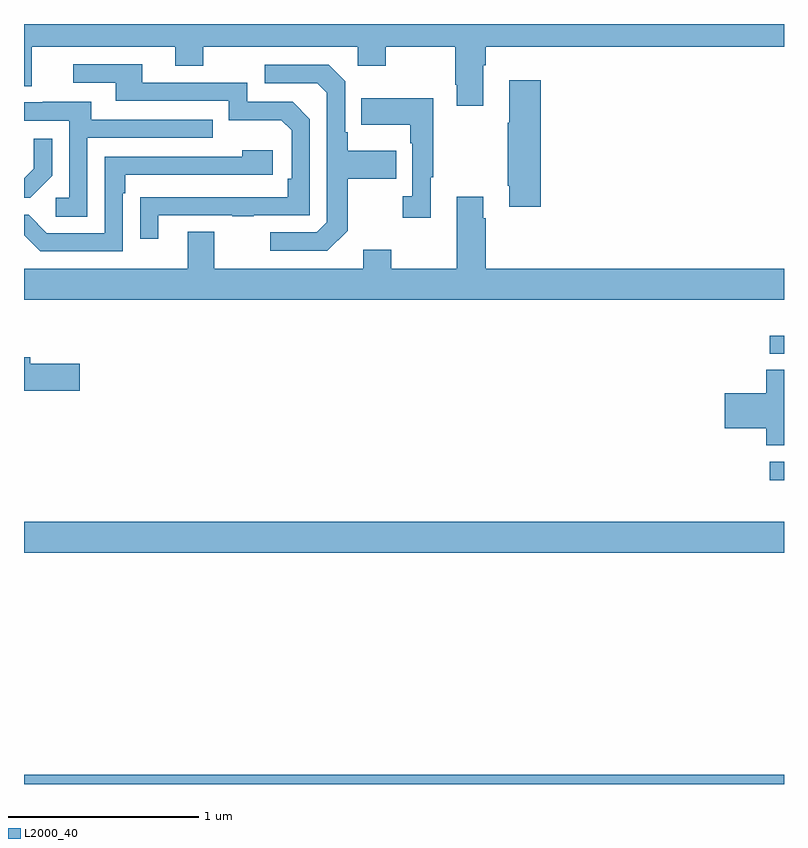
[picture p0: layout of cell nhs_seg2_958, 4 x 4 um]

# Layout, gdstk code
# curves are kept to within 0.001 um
import gdstk
lib = gdstk.Library(unit=1e-6, precision=1e-09)
def R(c, l, rs):  # rectangles x0, y0, x1, y1
    for r in rs: c.add(gdstk.rectangle(r[:2], r[2:], *l))
def P(c, l, *ps):  # polygons
    for p in ps: c.add(gdstk.Polygon(p, *l))
L2000_40 = (2000, 40)

nhs_seg2_958 = lib.new_cell('nhs_seg2_958')
R(nhs_seg2_958, L2000_40, [(161,599.8,165,599.848), (161,601.016,165,601.18), (164.925,601.399,165,601.497), (164.925,602.064,165,602.16)])
P(nhs_seg2_958, L2000_40, [(163.417,603.584),(163.43,603.584),(163.43,603.68),(165,603.68),(165,603.8),(161,603.8),(161,603.472),(161.041,603.472),(161.041,603.68),(161.795,603.68),(161.795,603.581),(161.943,603.581),(161.943,603.68),(162.756,603.68),(162.756,603.581),(162.903,603.581),(162.903,603.68),(163.27,603.68),(163.27,603.481),(163.277,603.481),(163.277,603.369),(163.417,603.369)],
  [(161.707,602.793),(162.097,602.793),(162.097,602.788),(162.209,602.788),(162.209,602.793),(162.504,602.793),(162.504,603.3),(162.414,603.39),(162.174,603.39),(162.174,603.492),(161.623,603.492),(161.623,603.588),(161.259,603.588),(161.259,603.492),(161.483,603.492),(161.483,603.396),(162.078,603.396),(162.078,603.293),(162.355,603.293),(162.408,603.24),(162.408,602.986),(162.388,602.986),(162.388,602.889),(161.611,602.888),(161.611,602.67),(161.707,602.67)],
  [(162.703,602.713),(162.703,602.986),(162.959,602.986),(162.959,603.133),(162.703,603.133),(162.703,603.229),(162.69,603.229),(162.69,603.498),(162.603,603.585),(162.267,603.585),(162.267,603.489),(162.543,603.489),(162.594,603.438),(162.594,602.757),(162.54,602.703),(162.297,602.703),(162.297,602.607),(162.597,602.607)],
  [(163.721,603.505),(163.553,603.505),(163.553,603.281),(163.546,603.281),(163.546,602.95),(163.553,602.95),(163.553,602.838),(163.721,602.838)],
  [(163.141,602.993),(163.153,602.993),(163.153,603.409),(162.775,603.409),(162.775,603.269),(163.032,603.269),(163.032,603.173),(163.044,603.173),(163.044,602.894),(162.993,602.894),(162.993,602.781),(163.141,602.781)],
  [(161.334,603.201),(161.993,603.201),(161.993,603.297),(161.353,603.297),(161.353,603.391),(161.099,603.391),(161.099,603.387),(161,603.387),(161,603.291),(161.238,603.291),(161.238,602.886),(161.166,602.886),(161.166,602.785),(161.334,602.785)],
  [(161.148,603.002),(161.148,603.196),(161.051,603.196),(161.051,603.039),(161,602.988),(161,602.886),(161.032,602.886)],
  [(161.52,602.909),(161.533,602.909),(161.533,603.006),(162.31,603.006),(162.31,603.136),(162.149,603.136),(162.149,603.102),(161.424,603.102),(161.424,602.7),(161.121,602.7),(161.025,602.796),(161,602.796),(161,602.689),(161.085,602.604),(161.52,602.604)],
  [(165,602.512),(163.43,602.512),(163.43,602.777),(163.417,602.777),(163.417,602.89),(163.277,602.89),(163.277,602.512),(162.933,602.512),(162.933,602.611),(162.785,602.611),(162.785,602.512),(162.001,602.512),(162.001,602.707),(161.861,602.707),(161.861,602.512),(161,602.512),(161,602.348),(165,602.348)],
  [(161.293,602.013),(161.032,602.013),(161.032,602.047),(161,602.047),(161,601.871),(161.293,601.871)],
  [(165,601.979),(164.906,601.979),(164.906,601.856),(164.688,601.856),(164.688,601.673),(164.906,601.673),(164.906,601.582),(165,601.582)])

lib.write_gds('nhs_seg2_958.gds')
